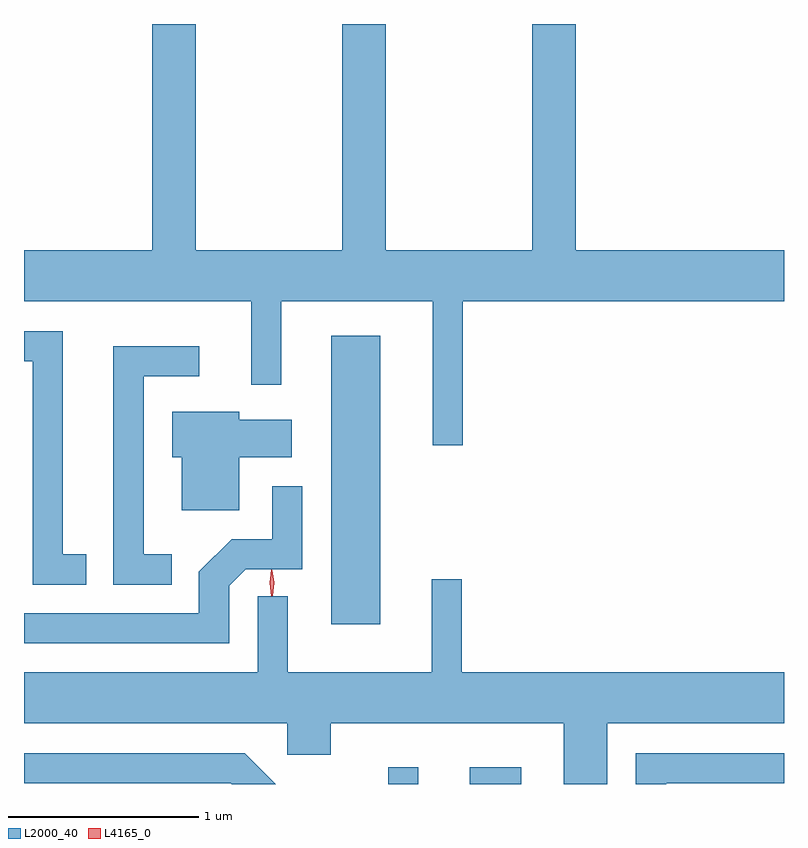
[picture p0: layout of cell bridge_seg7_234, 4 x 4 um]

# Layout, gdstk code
import gdstk
lib = gdstk.Library(unit=1e-6, precision=1e-09)
def R(c, l, rs):  # rectangles x0, y0, x1, y1
    for r in rs: c.add(gdstk.rectangle(r[:2], r[2:], *l))
def P(c, l, *ps):  # polygons
    for p in ps: c.add(gdstk.Polygon(p, *l))
L2000_40 = (2000, 40)
L4165_0 = (4165, 0)

bridge_seg7_234 = lib.new_cell('bridge_seg7_234')
R(bridge_seg7_234, L2000_40, [(1798.086,1689.576,1798.244,1689.663), (1798.516,1689.576,1798.788,1689.664), (1797.786,1690.416,1798.044,1691.934)])
P(bridge_seg7_234, L2000_40, [(1798.479,1692.116),(1800.17,1692.116),(1800.17,1692.384),(1799.074,1692.384),(1799.074,1693.576),(1798.846,1693.576),(1798.846,1692.384),(1798.074,1692.384),(1798.074,1693.576),(1797.846,1693.576),(1797.846,1692.384),(1797.074,1692.384),(1797.074,1693.576),(1796.846,1693.576),(1796.846,1692.384),(1796.17,1692.384),(1796.17,1692.116),(1797.366,1692.116),(1797.366,1691.678),(1797.524,1691.678),(1797.524,1692.116),(1798.321,1692.116),(1798.321,1691.358),(1798.479,1691.358)],
  [(1796.498,1690.784),(1796.374,1690.784),(1796.374,1691.959),(1796.17,1691.959),(1796.17,1691.801),(1796.216,1691.801),(1796.216,1690.626),(1796.498,1690.626)],
  [(1796.948,1690.784),(1796.799,1690.784),(1796.799,1691.721),(1797.093,1691.721),(1797.093,1691.879),(1796.641,1691.879),(1796.641,1690.626),(1796.948,1690.626)],
  [(1797.304,1691.296),(1797.579,1691.296),(1797.579,1691.494),(1797.304,1691.494),(1797.304,1691.534),(1796.951,1691.534),(1796.951,1691.296),(1797.001,1691.296),(1797.001,1691.016),(1797.304,1691.016)],
  [(1797.249,1690.619),(1797.337,1690.706),(1797.634,1690.706),(1797.634,1691.143),(1797.476,1691.143),(1797.476,1690.864),(1797.264,1690.864),(1797.091,1690.692),(1797.091,1690.474),(1796.17,1690.474),(1796.17,1690.316),(1797.249,1690.316)],
  [(1799.239,1689.896),(1800.17,1689.896),(1800.17,1690.164),(1798.474,1690.164),(1798.474,1690.653),(1798.316,1690.653),(1798.316,1690.164),(1797.559,1690.164),(1797.559,1690.563),(1797.401,1690.563),(1797.401,1690.164),(1796.17,1690.164),(1796.17,1689.896),(1797.556,1689.896),(1797.556,1689.731),(1797.784,1689.731),(1797.784,1689.896),(1799.011,1689.896),(1799.011,1689.576),(1799.239,1689.576)],
  [(1799.549,1689.581),(1800.17,1689.581),(1800.17,1689.739),(1799.391,1689.739),(1799.391,1689.576),(1799.549,1689.576)],
  [(1797.332,1689.739),(1796.17,1689.739),(1796.17,1689.581),(1797.259,1689.581),(1797.264,1689.576),(1797.495,1689.576)])
P(bridge_seg7_234, L4165_0, [(1797.472,1690.564),(1797.463,1690.634),(1797.472,1690.703),(1797.473,1690.704),(1797.473,1690.703),(1797.483,1690.634),(1797.473,1690.564),(1797.473,1690.564)],
  [(1797.477,1690.568),(1797.477,1690.568),(1797.467,1690.634),(1797.476,1690.7),(1797.477,1690.701),(1797.477,1690.7),(1797.487,1690.634),(1797.478,1690.568)])

lib.write_gds('bridge_seg7_234.gds')
